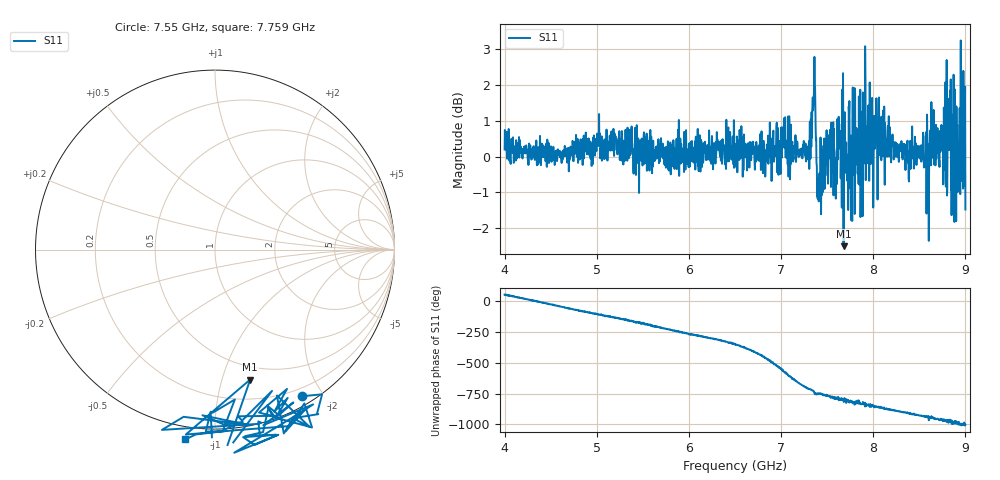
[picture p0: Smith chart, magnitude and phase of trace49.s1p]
! Created with skrf 1.8.0 (http://scikit-rf.org).
# Hz S RI R 50.0
!freq ReS11 ImS11
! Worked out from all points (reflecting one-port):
!   1601 points, 4 GHz to 9 GHz, reference 50 ohm
!   lowest |S11| = -2.5 dB at 7.678 GHz (marker M1), VSWR 7.00, Z = 18.7 - j61.9 ohm
!   phase of S11 starts at 50 deg and turns -1054 deg over the sweep
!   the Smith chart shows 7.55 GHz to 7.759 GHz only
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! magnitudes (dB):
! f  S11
! 4 GHz  0.2
! 4.625 GHz  -0.1
! 5.25 GHz  -0.1
! 5.875 GHz  0.2
! 6.5 GHz  0.1
! 6.816 GHz  0.4
! 7.022 GHz  0.6
! 7.125 GHz  0.0
! 7.294 GHz  -0.1
! 7.347 GHz  1.3
! 7.362 GHz  2.8
! 7.409 GHz  -1.2
! 7.509 GHz  -0.8
! 7.594 GHz  -1.2
! 7.65 GHz  -0.2
! 7.678 GHz  -2.5
! 7.703 GHz  0.0
! 7.75 GHz  0.1
! 7.928 GHz  0.0
! 8.375 GHz  -0.1
! 8.522 GHz  -0.1
! 8.584 GHz  1.2
! 8.631 GHz  1.5
! 8.738 GHz  0.9
! 8.816 GHz  0.5
! 8.906 GHz  0.0
! 8.972 GHz  0.3
! 9 GHz  -1.5
